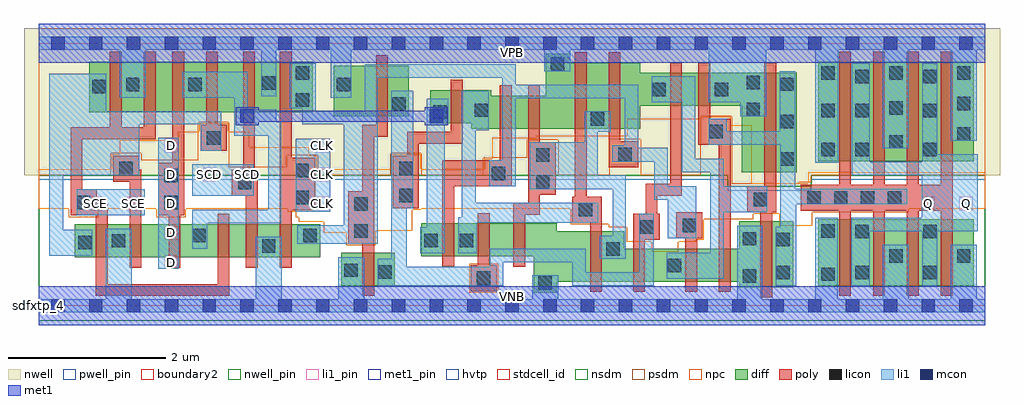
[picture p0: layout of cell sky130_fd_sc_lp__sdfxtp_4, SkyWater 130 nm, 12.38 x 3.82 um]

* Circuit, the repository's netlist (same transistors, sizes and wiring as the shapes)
* Copyright 2020 The SkyWater PDK Authors
*
* Licensed under the Apache License, Version 2.0 (the "License");
* you may not use this file except in compliance with the License.
* You may obtain a copy of the License at
*
*     https://www.apache.org/licenses/LICENSE-2.0
*
* Unless required by applicable law or agreed to in writing, software
* distributed under the License is distributed on an "AS IS" BASIS,
* WITHOUT WARRANTIES OR CONDITIONS OF ANY KIND, either express or implied.
* See the License for the specific language governing permissions and
* limitations under the License.
*
* SPDX-License-Identifier: Apache-2.0

.SUBCKT sky130_fd_sc_lp__sdfxtp_4 CLK D SCD SCE VGND VNB VPB VPWR Q
*.PININFO CLK:I D:I SCD:I SCE:I VGND:I VNB:I VPB:I VPWR:I Q:O
MI652 M1 clkpos S0 VNB sky130_fd_pr__nfet_01v8 m=1 w=0.42U l=0.15U mult=1 sa=0.265
+ sb=0.265 sd=0.28 area=0.063 perim=1.14
MI649 S1 S0 VGND VNB sky130_fd_pr__nfet_01v8 m=1 w=0.84U l=0.15U mult=1 sa=0.265
+ sb=0.265 sd=0.28 area=0.063 perim=1.14
MI634 M1 M0 VGND VNB sky130_fd_pr__nfet_01v8 m=1 w=0.64U l=0.15U mult=1 sa=0.265
+ sb=0.265 sd=0.28 area=0.063 perim=1.14
MI636 clkpos clkneg VGND VNB sky130_fd_pr__nfet_01v8 m=1 w=0.42U l=0.15U mult=1
+ sa=0.265 sb=0.265 sd=0.28 area=0.063 perim=1.14
MI639 sceb SCE VGND VNB sky130_fd_pr__nfet_01v8 m=1 w=0.42U l=0.15U mult=1 sa=0.265
+ sb=0.265 sd=0.28 area=0.063 perim=1.14
MI657 M0 clkpos net155 VNB sky130_fd_pr__nfet_01v8 m=1 w=0.42U l=0.15U mult=1 sa=0.265
+ sb=0.265 sd=0.28 area=0.063 perim=1.14
MI656 net155 M1 VGND VNB sky130_fd_pr__nfet_01v8 m=1 w=0.42U l=0.15U mult=1 sa=0.265
+ sb=0.265 sd=0.28 area=0.063 perim=1.14
MI641 net151 S1 VGND VNB sky130_fd_pr__nfet_01v8 m=1 w=0.42U l=0.15U mult=1 sa=0.265
+ sb=0.265 sd=0.28 area=0.063 perim=1.14
MI646 Q S1 VGND VNB sky130_fd_pr__nfet_01v8 m=4 w=0.84U l=0.15U mult=1 sa=0.265
+ sb=0.265 sd=0.28 area=0.063 perim=1.14
MI648 db clkneg M0 VNB sky130_fd_pr__nfet_01v8 m=1 w=0.42U l=0.15U mult=1 sa=0.265
+ sb=0.265 sd=0.28 area=0.063 perim=1.14
MI635 clkneg CLK VGND VNB sky130_fd_pr__nfet_01v8 m=1 w=0.42U l=0.15U mult=1 sa=0.265
+ sb=0.265 sd=0.28 area=0.063 perim=1.14
MI642 S0 clkneg net151 VNB sky130_fd_pr__nfet_01v8 m=1 w=0.42U l=0.15U mult=1 sa=0.265
+ sb=0.265 sd=0.28 area=0.063 perim=1.14
MI98 db D n0 VNB sky130_fd_pr__nfet_01v8 m=1 w=0.42U l=0.15U mult=1 sa=0.265 sb=0.265
+ sd=0.28 area=0.525 perim=3.1
MI103 n1 SCD VGND VNB sky130_fd_pr__nfet_01v8 m=1 w=0.42U l=0.15U mult=1 sa=0.265
+ sb=0.265 sd=0.28 area=0.525 perim=3.1
MI120 db SCE n1 VNB sky130_fd_pr__nfet_01v8 m=1 w=0.42U l=0.15U mult=1 sa=0.265
+ sb=0.265 sd=0.28 area=0.525 perim=3.1
MI104 n0 sceb VGND VNB sky130_fd_pr__nfet_01v8 m=1 w=0.42U l=0.15U mult=1 sa=0.265
+ sb=0.265 sd=0.28 area=0.525 perim=3.1
MI643 net206 S1 VPWR VPB sky130_fd_pr__pfet_01v8_hvt m=1 w=0.42U l=0.15U mult=1
+ sa=0.265 sb=0.265 sd=0.28 area=0.063 perim=1.14
MI640 sceb SCE VPWR VPB sky130_fd_pr__pfet_01v8_hvt m=1 w=0.64U l=0.15U mult=1
+ sa=0.265 sb=0.265 sd=0.28 area=0.063 perim=1.14
MI658 net243 M1 VPWR VPB sky130_fd_pr__pfet_01v8_hvt m=1 w=0.42U l=0.15U mult=1
+ sa=0.265 sb=0.265 sd=0.28 area=0.063 perim=1.14
MI645 Q S1 VPWR VPB sky130_fd_pr__pfet_01v8_hvt m=4 w=1.26U l=0.15U mult=1 sa=0.265
+ sb=0.265 sd=0.28 area=0.063 perim=1.14
MI651 db clkpos M0 VPB sky130_fd_pr__pfet_01v8_hvt m=1 w=0.42U l=0.15U mult=1 sa=0.265
+ sb=0.265 sd=0.28 area=0.063 perim=1.14
MI653 M1 clkneg S0 VPB sky130_fd_pr__pfet_01v8_hvt m=1 w=0.84U l=0.15U mult=1 sa=0.265
+ sb=0.265 sd=0.28 area=0.063 perim=1.14
MI659 M0 clkneg net243 VPB sky130_fd_pr__pfet_01v8_hvt m=1 w=0.42U l=0.15U mult=1
+ sa=0.265 sb=0.265 sd=0.28 area=0.063 perim=1.14
MI638 clkneg CLK VPWR VPB sky130_fd_pr__pfet_01v8_hvt m=1 w=0.64U l=0.15U mult=1
+ sa=0.265 sb=0.265 sd=0.28 area=0.063 perim=1.14
MI637 clkpos clkneg VPWR VPB sky130_fd_pr__pfet_01v8_hvt m=1 w=0.64U l=0.15U mult=1
+ sa=0.265 sb=0.265 sd=0.28 area=0.063 perim=1.14
MI650 S1 S0 VPWR VPB sky130_fd_pr__pfet_01v8_hvt m=1 w=1.26U l=0.15U mult=1 sa=0.265
+ sb=0.265 sd=0.28 area=0.063 perim=1.14
MI644 S0 clkpos net206 VPB sky130_fd_pr__pfet_01v8_hvt m=1 w=0.42U l=0.15U mult=1
+ sa=0.265 sb=0.265 sd=0.28 area=0.063 perim=1.14
MI664 M1 M0 VPWR VPB sky130_fd_pr__pfet_01v8_hvt m=1 w=0.84U l=0.15U mult=1 sa=0.265
+ sb=0.265 sd=0.28 area=0.063 perim=1.14
MI107 p0 SCE VPWR VPB sky130_fd_pr__pfet_01v8_hvt m=1 w=0.64U l=0.15U mult=1 sa=0.265
+ sb=0.265 sd=0.28 area=0.063 perim=1.14
MI94 db D p0 VPB sky130_fd_pr__pfet_01v8_hvt m=1 w=0.64U l=0.15U mult=1 sa=0.265
+ sb=0.265 sd=0.28 area=0.063 perim=1.14
MI108 p1 SCD VPWR VPB sky130_fd_pr__pfet_01v8_hvt m=1 w=0.64U l=0.15U mult=1 sa=0.265
+ sb=0.265 sd=0.28 area=0.063 perim=1.14
MI101 db sceb p1 VPB sky130_fd_pr__pfet_01v8_hvt m=1 w=0.64U l=0.15U mult=1 sa=0.265
+ sb=0.265 sd=0.28 area=0.063 perim=1.14
.ENDS sky130_fd_sc_lp__sdfxtp_4

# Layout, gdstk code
import gdstk
lib = gdstk.Library(unit=1e-6, precision=1e-09)
def R(c, l, rs):  # rectangles x0, y0, x1, y1
    for r in rs: c.add(gdstk.rectangle(r[:2], r[2:], *l))
def A(c, l, x, y, w, h, nx, ny, dx, dy):  # array of equal rectangles
    R(c, l, [(x+i*dx, y+j*dy, x+i*dx+w, y+j*dy+h) for i in range(nx) for j in range(ny)])
def P(c, l, *ps):  # polygons
    for p in ps: c.add(gdstk.Polygon(p, *l))
nwell_pin = (64, 16)
nwell = (64, 20)
diff = (65, 20)
poly = (66, 20)
licon = (66, 44)
li1_pin = (67, 16)
li1 = (67, 20)
mcon = (67, 44)
met1_pin = (68, 16)
met1 = (68, 20)
hvtp = (78, 44)
stdcell_id = (81, 4)
nsdm = (93, 44)
psdm = (94, 20)
npc = (95, 20)
pwell_pin = (122, 16)
boundary2 = (236, 0)

sky130_fd_sc_lp__sdfxtp_ = lib.new_cell('sky130_fd_sc_lp__sdfxtp_4')
R(sky130_fd_sc_lp__sdfxtp_, nwell_pin, [(0,3.085,12,3.33)])
P(sky130_fd_sc_lp__sdfxtp_, nwell, [(12.19,3.52),(-0.19,3.52),(-0.19,1.655),(8.735,1.655),(8.735,1.515),(9.795,1.515),(9.795,1.655),(12.19,1.655)])
R(sky130_fd_sc_lp__sdfxtp_, diff, [(3.835,0.255,4.515,0.675), (9.885,0.255,11.855,1.095), (0.455,0.615,3.565,1.035), (9.885,1.835,11.855,3.095), (3.74,2.405,4.69,3.045), (0.635,2.455,3.47,3.095)])
P(sky130_fd_sc_lp__sdfxtp_, diff, [(9.565,1.075),(8.885,1.075),(8.885,0.725),(7.425,0.725),(7.425,0.945),(6.565,0.945),(6.565,1.045),(4.85,1.045),(4.85,0.625),(6.275,0.625),(6.275,0.165),(6.565,0.165),(6.565,0.305),(8.885,0.305),(8.885,0.235),(9.565,0.235)],
  [(9.615,2.955),(7.625,2.955),(7.625,3.085),(6.72,3.085),(6.72,3.195),(6.43,3.195),(6.43,2.665),(5.735,2.665),(5.735,2.735),(4.96,2.735),(4.96,2.315),(5.485,2.315),(5.485,2.245),(7.625,2.245),(7.625,2.535),(8.915,2.535),(8.915,1.695),(9.615,1.695)])
P(sky130_fd_sc_lp__sdfxtp_, poly, [(1.3,1.725),(1.27,1.725),(1.27,1.905),(0.94,1.905),(0.94,1.575),(1.15,1.575),(1.15,0.485),(1.3,0.485)],
  [(1.84,3.225),(1.69,3.225),(1.69,1.815),(1.51,1.815),(1.51,1.145),(1.645,1.145),(1.645,0.485),(1.795,0.485),(1.795,1.145),(1.84,1.145)],
  [(2.38,2.295),(2.27,2.295),(2.27,3.225),(2.12,3.225),(2.12,2.295),(2.05,2.295),(2.05,1.965),(2.38,1.965)],
  [(2.415,1.165),(2.265,1.165),(2.265,0.275),(0.87,0.275),(0.87,1.295),(0.73,1.295),(0.73,1.475),(0.55,1.475),(0.55,2.115),(1.48,2.115),(1.48,3.225),(1.33,3.225),(1.33,2.265),(1.05,2.265),(1.05,3.225),(0.9,3.225),(0.9,2.265),(0.4,2.265),(0.4,1.145),(0.72,1.145),(0.72,0.125),(2.415,0.125)],
  [(2.775,1.725),(2.74,1.725),(2.74,3.225),(2.59,3.225),(2.59,1.725),(2.445,1.725),(2.445,1.395),(2.625,1.395),(2.625,0.485),(2.775,0.485)],
  [(3.505,1.88),(3.205,1.88),(3.205,3.225),(3.055,3.225),(3.055,0.485),(3.205,0.485),(3.205,1.21),(3.505,1.21)],
  [(4.425,3.175),(4.275,3.175),(4.275,2.295),(4.1,2.295),(4.1,1.455),(3.92,1.455),(3.92,0.785),(4.1,0.785),(4.1,0.125),(4.25,0.125),(4.25,2.145),(4.425,2.145)],
  [(5.375,2.865),(5.225,2.865),(5.225,2.205),(4.67,2.205),(4.67,1.905),(4.49,1.905),(4.49,1.235),(4.82,1.235),(4.82,2.055),(5.375,2.055)],
  [(5.805,0.515),(5.715,0.515),(5.715,1.175),(5.565,1.175),(5.565,0.515),(5.475,0.515),(5.475,0.185),(5.805,0.185)],
  [(5.995,2.795),(5.845,2.795),(5.845,1.845),(5.115,1.845),(5.115,0.495),(5.265,0.495),(5.265,1.515),(5.995,1.515)],
  [(6.555,2.075),(6.355,2.075),(6.355,2.795),(6.205,2.795),(6.205,1.305),(6.015,1.305),(6.015,0.495),(6.165,0.495),(6.165,1.155),(6.355,1.155),(6.355,1.405),(6.555,1.405)],
  [(7.14,1.385),(6.945,1.385),(6.945,3.215),(6.795,3.215),(6.795,1.385),(6.765,1.385),(6.765,1.055),(6.99,1.055),(6.99,0.175),(7.14,0.175)],
  [(7.6,2.085),(7.375,2.085),(7.375,3.215),(7.225,3.215),(7.225,1.755),(7.6,1.755)],
  [(8.155,3.085),(8.005,3.085),(8.005,1.545),(7.695,1.545),(7.695,1.165),(7.535,1.165),(7.535,0.175),(7.685,0.175),(7.685,0.835),(7.875,0.835),(7.875,1.165),(7.845,1.165),(7.845,1.395),(8.155,1.395)],
  [(8.415,1.185),(8.085,1.185),(8.085,0.855),(8.2,0.855),(8.2,0.175),(8.35,0.175),(8.35,0.855),(8.415,0.855)],
  [(8.775,2.375),(8.515,2.375),(8.515,3.085),(8.365,3.085),(8.365,2.045),(8.625,2.045),(8.625,0.175),(8.775,0.175)],
  [(9.35,3.085),(9.2,3.085),(9.2,1.515),(8.985,1.515),(8.985,1.185),(9.15,1.185),(9.15,0.105),(9.3,0.105),(9.3,1.185),(9.35,1.185)],
  [(11.59,3.225),(11.44,3.225),(11.44,1.535),(11.16,1.535),(11.16,3.225),(11.01,3.225),(11.01,1.535),(10.73,1.535),(10.73,3.225),(10.58,3.225),(10.58,1.535),(10.3,1.535),(10.3,3.225),(10.15,3.225),(10.15,1.535),(9.665,1.535),(9.665,1.205),(10.15,1.205),(10.15,0.125),(10.3,0.125),(10.3,1.205),(10.58,1.205),(10.58,0.125),(10.73,0.125),(10.73,1.205),(11.01,1.205),(11.01,0.125),(11.16,0.125),(11.16,1.205),(11.44,1.205),(11.44,0.125),(11.59,0.125)])
A(sky130_fd_sc_lp__sdfxtp_, licon, 9.745, 1.285, 0.17, 0.17, 4, 1, 0.34, 0)
A(sky130_fd_sc_lp__sdfxtp_, licon, 9.405, 1.775, 0.17, 0.17, 1, 3, 0, 0.475)
A(sky130_fd_sc_lp__sdfxtp_, licon, 9.925, 2.865, 0.17, 0.17, 3, 1, 0.86, 0)
R(sky130_fd_sc_lp__sdfxtp_, licon, [(6.335,0.205,6.505,0.375), (5.555,0.265,5.725,0.435), (8.925,0.295,9.095,0.465), (9.925,0.315,10.095,0.485), (9.355,0.335,9.525,0.505), (10.355,0.335,10.525,0.505), (11.215,0.335,11.385,0.505), (4.305,0.345,4.475,0.515), (3.875,0.365,4.045,0.535), (7.975,0.425,8.145,0.595), (10.785,0.545,10.955,0.715), (11.645,0.545,11.815,0.715), (7.195,0.635,7.365,0.805), (2.83,0.675,3,0.845), (0.495,0.715,0.665,0.885), (0.925,0.74,1.095,0.91), (4.89,0.745,5.06,0.915), (5.34,0.745,5.51,0.915), (9.355,0.755,9.525,0.925), (8.925,0.765,9.095,0.935), (1.945,0.805,2.115,0.975), (3.355,0.805,3.525,0.975), (10.355,0.855,10.525,1.025), (11.215,0.855,11.385,1.025), (4,0.865,4.17,1.035), (9.925,0.865,10.095,1.035), (7.625,0.915,7.795,1.085), (8.165,0.935,8.335,1.105), (6.845,1.135,7.015,1.305), (4,1.205,4.17,1.375), (0.48,1.225,0.65,1.395), (1.59,1.225,1.76,1.395), (9.065,1.265,9.235,1.435), (3.255,1.29,3.425,1.46), (4.57,1.315,4.74,1.485), (2.525,1.475,2.695,1.645), (6.305,1.485,6.475,1.655), (1.59,1.565,1.76,1.735), (5.745,1.595,5.915,1.765), (3.255,1.63,3.425,1.8), (1.02,1.655,1.19,1.825), (4.57,1.655,4.74,1.825), (6.305,1.825,6.475,1.995), (7.35,1.835,7.52,2.005), (9.925,1.895,10.095,2.065), (10.355,1.895,10.525,2.065), (11.215,1.895,11.385,2.065), (10.785,1.995,10.955,2.165), (2.13,2.045,2.3,2.215), (11.645,2.095,11.815,2.265), (8.505,2.125,8.675,2.295), (7,2.285,7.17,2.455), (5,2.375,5.17,2.545), (9.925,2.39,10.095,2.56), (10.355,2.39,10.525,2.56), (11.215,2.39,11.385,2.56), (5.525,2.395,5.695,2.565), (8.975,2.405,9.145,2.575), (10.785,2.425,10.955,2.595), (4.48,2.475,4.65,2.645), (11.645,2.48,11.815,2.65), (3.26,2.525,3.43,2.695), (7.78,2.66,7.95,2.83), (8.57,2.66,8.74,2.83), (0.675,2.695,0.845,2.865), (1.105,2.72,1.275,2.89), (1.895,2.72,2.065,2.89), (3.78,2.72,3.95,2.89), (2.83,2.74,3,2.91), (8.975,2.745,9.145,2.915), (10.355,2.825,10.525,2.995), (11.215,2.825,11.385,2.995), (3.26,2.865,3.43,3.035), (6.49,2.985,6.66,3.155)])
A(sky130_fd_sc_lp__sdfxtp_, li1_pin, 0.635, 1.21, 0.17, 0.17, 3, 1, 0.48, 0)
A(sky130_fd_sc_lp__sdfxtp_, li1_pin, 3.515, 1.21, 0.17, 0.17, 1, 3, 0, 0.37)
A(sky130_fd_sc_lp__sdfxtp_, li1_pin, 1.595, 1.58, 0.17, 0.17, 3, 1, 0.48, 0)
R(sky130_fd_sc_lp__sdfxtp_, li1_pin, [(1.595,0.47,1.765,0.64), (1.595,0.84,1.765,1.01), (11.195,1.21,11.365,1.38), (11.675,1.21,11.845,1.38), (1.595,1.95,1.765,2.12)])
R(sky130_fd_sc_lp__sdfxtp_, li1, [(1.51,0.47,1.775,2.13), (0.48,1.145,1.34,1.475), (3.255,1.19,3.695,2.12), (1.945,1.395,2.725,1.795)])
P(sky130_fd_sc_lp__sdfxtp_, li1, [(2.31,2.47),(0.855,2.47),(0.855,2.945),(0.13,2.945),(0.13,0.635),(0.675,0.635),(0.675,0.965),(0.31,0.965),(0.31,1.655),(1.27,1.655),(1.27,2.3),(2.05,2.3),(2.05,1.965),(2.31,1.965)],
  [(7.445,1.655),(7.09,1.655),(7.09,2.205),(7.25,2.205),(7.25,2.465),(6.92,2.465),(6.92,2.075),(6.225,2.075),(6.225,1.475),(7.275,1.475),(7.275,0.885),(7.115,0.885),(7.115,0.595),(7.445,0.595)],
  [(3.075,2.335),(3.01,2.335),(3.01,2.49),(2.65,2.49),(2.65,2.97),(1.815,2.97),(1.815,2.64),(2.48,2.64),(2.48,2.155),(2.905,2.155),(2.905,1.215),(1.945,1.215),(1.945,0.725),(2.135,0.725),(2.135,1.045),(3.075,1.045)],
  [(5.19,2.625),(4.92,2.625),(4.92,0.995),(4.835,0.995),(4.835,0.665),(5.15,0.665),(5.15,2.295),(5.19,2.295)],
  [(12,0.085),(11.895,0.085),(11.895,0.775),(11.565,0.775),(11.565,0.085),(11.035,0.085),(11.035,0.775),(10.705,0.775),(10.705,0.085),(10.135,0.085),(10.135,1.115),(9.845,1.115),(9.845,0.085),(9.175,0.085),(9.175,1.015),(8.855,1.015),(8.855,0.085),(6.585,0.085),(6.585,0.385),(6.255,0.385),(6.255,0.085),(4.125,0.085),(4.125,0.615),(3.795,0.615),(3.795,0.085),(3.08,0.085),(3.08,0.875),(2.75,0.875),(2.75,0.085),(1.175,0.085),(1.175,0.975),(0.845,0.975),(0.845,0.085),(0,0.085),(0,-0.085),(12,-0.085)],
  [(12,3.415),(0,3.415),(0,3.245),(1.025,3.245),(1.025,2.64),(1.355,2.64),(1.355,3.245),(2.82,3.245),(2.82,2.66),(3.01,2.66),(3.01,3.245),(3.7,3.245),(3.7,2.64),(3.96,2.64),(3.96,3.245),(6.41,3.245),(6.41,2.975),(6.74,2.975),(6.74,3.245),(8.495,3.245),(8.495,2.58),(8.895,2.58),(8.895,2.405),(9.225,2.405),(9.225,3.245),(9.845,3.245),(9.845,1.815),(10.14,1.815),(10.14,3.245),(10.705,3.245),(10.705,1.995),(11.035,1.995),(11.035,3.245),(11.565,3.245),(11.565,2.095),(11.895,2.095),(11.895,3.245),(12,3.245)],
  [(11.91,1.925),(11.395,1.925),(11.395,3.075),(11.205,3.075),(11.205,1.825),(10.535,1.825),(10.535,3.075),(10.31,3.075),(10.31,1.655),(11.195,1.655),(11.195,1.115),(10.305,1.115),(10.305,0.255),(10.535,0.255),(10.535,0.945),(11.205,0.945),(11.205,0.255),(11.395,0.255),(11.395,0.945),(11.91,0.945)],
  [(11.015,1.485),(9.595,1.485),(9.595,2.975),(9.395,2.975),(9.395,2.215),(8.725,2.215),(8.725,2.375),(8.495,2.375),(8.495,2.045),(9.405,2.045),(9.405,1.005),(9.345,1.005),(9.345,0.255),(9.605,0.255),(9.605,1.285),(11.015,1.285)],
  [(9.235,1.515),(8.685,1.515),(8.685,1.865),(8.325,1.865),(8.325,2.91),(7.77,2.91),(7.77,2.58),(8.155,2.58),(8.155,1.695),(8.515,1.695),(8.515,0.675),(7.965,0.675),(7.965,0.345),(8.685,0.345),(8.685,1.185),(9.235,1.185)],
  [(8.335,1.515),(7.975,1.515),(7.975,2.005),(7.6,2.005),(7.6,2.805),(6.045,2.805),(6.045,3.065),(4.13,3.065),(4.13,2.47),(3.51,2.47),(3.51,3.075),(3.18,3.075),(3.18,2.505),(3.34,2.505),(3.34,2.3),(3.865,2.3),(3.865,1.02),(3.275,1.02),(3.275,0.785),(4.3,0.785),(4.3,2.895),(5.875,2.895),(5.875,1.845),(5.71,1.845),(5.71,1.515),(6.045,1.515),(6.045,2.635),(7.43,2.635),(7.43,2.035),(7.27,2.035),(7.27,1.825),(7.805,1.825),(7.805,1.345),(7.975,1.345),(7.975,0.855),(8.335,0.855)],
  [(7.795,1.165),(7.615,1.165),(7.615,0.425),(6.935,0.425),(6.935,0.725),(5.72,0.725),(5.72,0.495),(4.665,0.495),(4.665,1.235),(4.75,1.235),(4.75,2.725),(4.47,2.725),(4.47,0.595),(4.295,0.595),(4.295,0.255),(5.89,0.255),(5.89,0.555),(6.765,0.555),(6.765,0.255),(7.795,0.255)],
  [(7.095,1.305),(5.54,1.305),(5.54,2.225),(5.705,2.225),(5.705,2.725),(5.36,2.725),(5.36,1.12),(5.32,1.12),(5.32,0.665),(5.55,0.665),(5.55,1.055),(7.095,1.055)])
A(sky130_fd_sc_lp__sdfxtp_, mcon, 0.155, -0.085, 0.17, 0.17, 25, 2, 0.48, 3.33)
R(sky130_fd_sc_lp__sdfxtp_, mcon, [(2.555,2.32,2.725,2.49), (4.955,2.32,5.125,2.49)])
R(sky130_fd_sc_lp__sdfxtp_, met1_pin, [(0,0,12,0.245), (0,3.085,12,3.33)])
R(sky130_fd_sc_lp__sdfxtp_, met1, [(0,-0.245,12,0.245), (0,3.085,12,3.575)])
P(sky130_fd_sc_lp__sdfxtp_, met1, [(5.185,2.52),(4.895,2.52),(4.895,2.475),(2.785,2.475),(2.785,2.52),(2.495,2.52),(2.495,2.29),(2.785,2.29),(2.785,2.335),(4.895,2.335),(4.895,2.29),(5.185,2.29)])
P(sky130_fd_sc_lp__sdfxtp_, hvtp, [(12,3.33),(0,3.33),(0,1.6),(8.735,1.6),(8.735,1.46),(9.795,1.46),(9.795,1.6),(12,1.6)])
R(sky130_fd_sc_lp__sdfxtp_, stdcell_id, [(0,0,12,3.33)])
P(sky130_fd_sc_lp__sdfxtp_, nsdm, [(12,1.655),(9.795,1.655),(9.795,1.515),(8.735,1.515),(8.735,1.655),(0,1.655),(0,-0.19),(12,-0.19)])
P(sky130_fd_sc_lp__sdfxtp_, psdm, [(12,3.52),(0,3.52),(0,1.655),(0.91,1.655),(0.91,1.935),(1.3,1.935),(1.3,1.845),(2.02,1.845),(2.02,2.325),(2.41,2.325),(2.41,1.755),(3.145,1.755),(3.145,1.91),(3.535,1.91),(3.535,1.655),(4.46,1.655),(4.46,1.935),(4.85,1.935),(4.85,1.655),(5.635,1.655),(5.635,1.875),(6.195,1.875),(6.195,2.105),(6.585,2.105),(6.585,1.655),(7.24,1.655),(7.24,2.115),(7.63,2.115),(7.63,1.655),(8.395,1.655),(8.395,2.405),(8.785,2.405),(8.785,1.545),(9.635,1.545),(9.635,1.565),(9.795,1.565),(9.795,1.655),(12,1.655)])
R(sky130_fd_sc_lp__sdfxtp_, npc, [(5.455,0.165,5.825,0.535)])
P(sky130_fd_sc_lp__sdfxtp_, npc, [(12,1.695),(9.755,1.695),(9.755,1.555),(9.04,1.555),(9.04,2.29),(8.775,2.29),(8.775,2.395),(8.405,2.395),(8.405,2.37),(7.465,2.37),(7.465,2.155),(6.31,2.155),(6.31,2.13),(5.75,2.13),(5.75,1.865),(5.645,1.865),(5.645,1.73),(4.84,1.73),(4.84,1.925),(4.47,1.925),(4.47,1.73),(3.525,1.73),(3.525,1.9),(3.42,1.9),(3.42,2.01),(2.665,2.01),(2.665,2.21),(2.4,2.21),(2.4,2.315),(2.03,2.315),(2.03,2.21),(1.765,2.21),(1.765,2.1),(1.025,2.1),(1.025,1.925),(0.92,1.925),(0.92,1.73),(0,1.73),(0,1.23),(0.38,1.23),(0.38,1.125),(0.75,1.125),(0.75,1.23),(1.49,1.23),(1.49,1.125),(1.86,1.125),(1.86,1.23),(3.155,1.23),(3.155,1.19),(3.26,1.19),(3.26,1.125),(3.295,1.125),(3.295,1.065),(3.615,1.065),(3.615,0.925),(3.9,0.925),(3.9,0.765),(4.27,0.765),(4.27,0.95),(4.735,0.95),(4.735,1.215),(4.84,1.215),(4.84,1.23),(6.745,1.23),(6.745,1.035),(7.23,1.035),(7.23,0.995),(7.455,0.995),(7.455,0.815),(7.775,0.815),(7.775,0.685),(8.11,0.685),(8.11,0.815),(8.33,0.815),(8.33,0.835),(8.435,0.835),(8.435,1.095),(9.06,1.095),(9.06,1.165),(9.39,1.165),(9.39,1.015),(9.81,1.015),(9.81,1.185),(11.035,1.185),(11.035,1.23),(12,1.23)])
R(sky130_fd_sc_lp__sdfxtp_, pwell_pin, [(0,0,12,0.245)])
R(sky130_fd_sc_lp__sdfxtp_, boundary2, [(0,0,12,3.33)])
sky130_fd_sc_lp__sdfxtp_.add(gdstk.Label('VNB', (6,0.123), layer=64, texttype=59))
sky130_fd_sc_lp__sdfxtp_.add(gdstk.Label('VPB', (6,3.208), layer=64, texttype=5))
sky130_fd_sc_lp__sdfxtp_.add(gdstk.Label('sdfxtp_4', (0,0), layer=83, texttype=44))
sky130_fd_sc_lp__sdfxtp_.add(gdstk.Label('VPWR', (6,3.208), layer=68, texttype=5))
sky130_fd_sc_lp__sdfxtp_.add(gdstk.Label('VGND', (6,0.123), layer=68, texttype=5))
sky130_fd_sc_lp__sdfxtp_.add(gdstk.Label('CLK', (3.6,1.295), layer=67, texttype=5))
sky130_fd_sc_lp__sdfxtp_.add(gdstk.Label('CLK', (3.6,1.665), layer=67, texttype=5))
sky130_fd_sc_lp__sdfxtp_.add(gdstk.Label('CLK', (3.6,2.035), layer=67, texttype=5))
sky130_fd_sc_lp__sdfxtp_.add(gdstk.Label('SCE', (0.72,1.295), layer=67, texttype=5))
sky130_fd_sc_lp__sdfxtp_.add(gdstk.Label('SCE', (1.2,1.295), layer=67, texttype=5))
sky130_fd_sc_lp__sdfxtp_.add(gdstk.Label('SCD', (2.16,1.665), layer=67, texttype=5))
sky130_fd_sc_lp__sdfxtp_.add(gdstk.Label('SCD', (2.64,1.665), layer=67, texttype=5))
sky130_fd_sc_lp__sdfxtp_.add(gdstk.Label('D', (1.68,0.555), layer=67, texttype=5))
sky130_fd_sc_lp__sdfxtp_.add(gdstk.Label('D', (1.68,0.925), layer=67, texttype=5))
sky130_fd_sc_lp__sdfxtp_.add(gdstk.Label('D', (1.68,1.295), layer=67, texttype=5))
sky130_fd_sc_lp__sdfxtp_.add(gdstk.Label('D', (1.68,1.665), layer=67, texttype=5))
sky130_fd_sc_lp__sdfxtp_.add(gdstk.Label('D', (1.68,2.035), layer=67, texttype=5))
sky130_fd_sc_lp__sdfxtp_.add(gdstk.Label('Q', (11.28,1.295), layer=67, texttype=5))
sky130_fd_sc_lp__sdfxtp_.add(gdstk.Label('Q', (11.76,1.295), layer=67, texttype=5))

lib.write_gds('sky130_fd_sc_lp__sdfxtp_4.gds')
